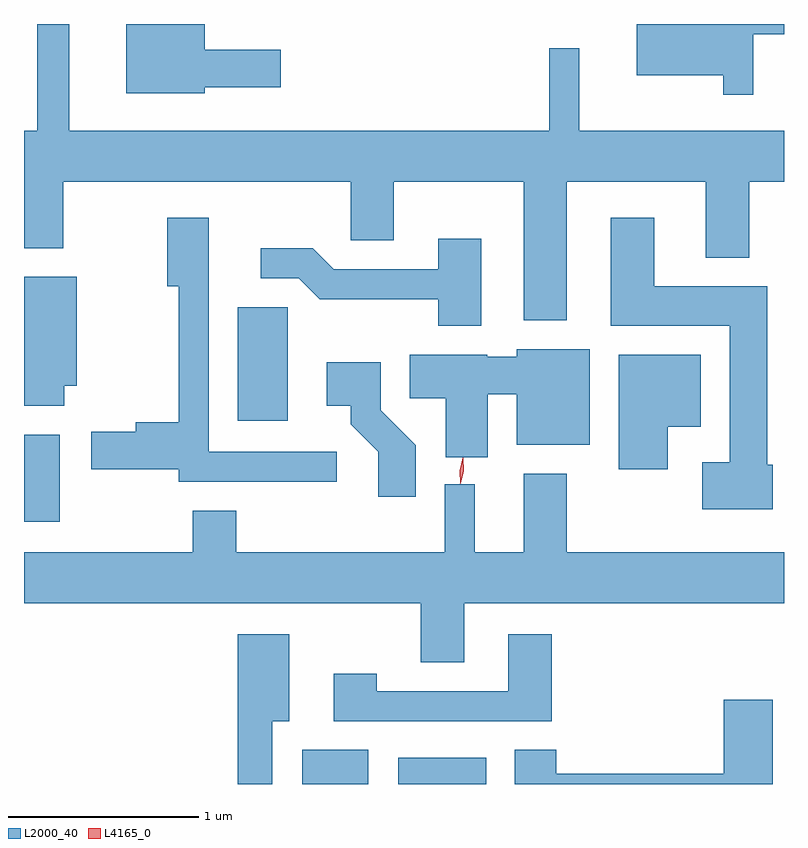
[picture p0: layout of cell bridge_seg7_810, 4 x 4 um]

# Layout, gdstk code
import gdstk
lib = gdstk.Library(unit=1e-6, precision=1e-09)
def R(c, l, rs):  # rectangles x0, y0, x1, y1
    for r in rs: c.add(gdstk.rectangle(r[:2], r[2:], *l))
def P(c, l, *ps):  # polygons
    for p in ps: c.add(gdstk.Polygon(p, *l))
L2000_40 = (2000, 40)
L4165_0 = (4165, 0)

bridge_seg7_810 = lib.new_cell('bridge_seg7_810')
R(bridge_seg7_810, L2000_40, [(211.566,1755.545,211.914,1755.724), (212.071,1755.545,212.534,1755.684), (210.102,1756.926,210.289,1757.384), (211.226,1757.456,211.489,1758.054)])
P(bridge_seg7_810, L2000_40, [(213.939,1759.491),(214.102,1759.491),(214.102,1759.545),(213.326,1759.545),(213.326,1759.276),(213.781,1759.276),(213.781,1759.173),(213.939,1759.173)],
  [(212.959,1758.716),(213.691,1758.716),(213.691,1758.316),(213.919,1758.316),(213.919,1758.716),(214.102,1758.716),(214.102,1758.984),(213.024,1758.984),(213.024,1759.418),(212.866,1759.418),(212.866,1758.984),(210.339,1758.984),(210.339,1759.545),(210.171,1759.545),(210.171,1758.984),(210.102,1758.984),(210.102,1758.366),(210.309,1758.366),(210.309,1758.716),(211.821,1758.716),(211.821,1758.406),(212.049,1758.406),(212.049,1758.716),(212.731,1758.716),(212.731,1757.986),(212.959,1757.986)],
  [(211.054,1759.211),(211.454,1759.211),(211.454,1759.409),(211.054,1759.409),(211.054,1759.545),(210.641,1759.545),(210.641,1759.181),(211.054,1759.181)],
  [(214.044,1757.224),(214.014,1757.224),(214.014,1758.164),(213.419,1758.164),(213.419,1758.524),(213.191,1758.524),(213.191,1757.956),(213.816,1757.956),(213.816,1757.239),(213.671,1757.239),(213.671,1756.991),(214.044,1756.991)],
  [(211.748,1757.294),(211.074,1757.294),(211.074,1758.524),(210.856,1758.524),(210.856,1758.166),(210.916,1758.166),(210.916,1757.449),(210.691,1757.449),(210.691,1757.399),(210.456,1757.399),(210.456,1757.201),(210.916,1757.201),(210.916,1757.136),(211.748,1757.136)],
  [(212.509,1758.414),(212.281,1758.414),(212.281,1758.254),(211.732,1758.254),(211.622,1758.364),(211.348,1758.364),(211.348,1758.206),(211.549,1758.206),(211.659,1758.096),(212.281,1758.096),(212.281,1757.956),(212.509,1757.956)],
  [(210.314,1757.641),(210.379,1757.641),(210.379,1758.214),(210.102,1758.214),(210.102,1757.536),(210.314,1757.536)],
  [(212.544,1757.596),(212.696,1757.596),(212.696,1757.331),(213.079,1757.331),(213.079,1757.834),(212.696,1757.834),(212.696,1757.794),(212.54,1757.794),(212.54,1757.804),(212.131,1757.804),(212.131,1757.576),(212.321,1757.576),(212.321,1757.266),(212.544,1757.266)],
  [(213.489,1757.426),(213.664,1757.426),(213.664,1757.804),(213.231,1757.804),(213.231,1757.201),(213.489,1757.201)],
  [(212.164,1757.327),(211.979,1757.512),(211.979,1757.764),(211.696,1757.764),(211.696,1757.536),(211.821,1757.536),(211.821,1757.439),(211.966,1757.294),(211.966,1757.056),(212.164,1757.056)],
  [(212.419,1756.496),(214.102,1756.496),(214.102,1756.764),(212.959,1756.764),(212.959,1757.179),(212.731,1757.179),(212.731,1756.764),(212.474,1756.764),(212.474,1757.123),(212.316,1757.123),(212.316,1756.764),(211.219,1756.764),(211.219,1756.984),(210.991,1756.984),(210.991,1756.764),(210.102,1756.764),(210.102,1756.496),(212.191,1756.496),(212.191,1756.186),(212.419,1756.186)],
  [(212.879,1756.334),(212.651,1756.334),(212.651,1756.034),(211.959,1756.034),(211.959,1756.124),(211.731,1756.124),(211.731,1755.876),(212.879,1755.876)],
  [(211.409,1755.876),(211.499,1755.876),(211.499,1756.334),(211.226,1756.334),(211.226,1755.545),(211.409,1755.545)],
  [(214.044,1755.989),(213.786,1755.989),(213.786,1755.599),(212.904,1755.599),(212.904,1755.724),(212.686,1755.724),(212.686,1755.545),(214.044,1755.545)])
P(bridge_seg7_810, L4165_0, [(212.4,1757.129),(212.397,1757.196),(212.413,1757.26),(212.413,1757.261),(212.414,1757.26),(212.417,1757.194),(212.401,1757.129),(212.401,1757.129)],
  [(212.398,1757.126),(212.398,1757.126),(212.395,1757.195),(212.41,1757.263),(212.411,1757.263),(212.412,1757.263),(212.414,1757.194),(212.399,1757.126)])

lib.write_gds('bridge_seg7_810.gds')
